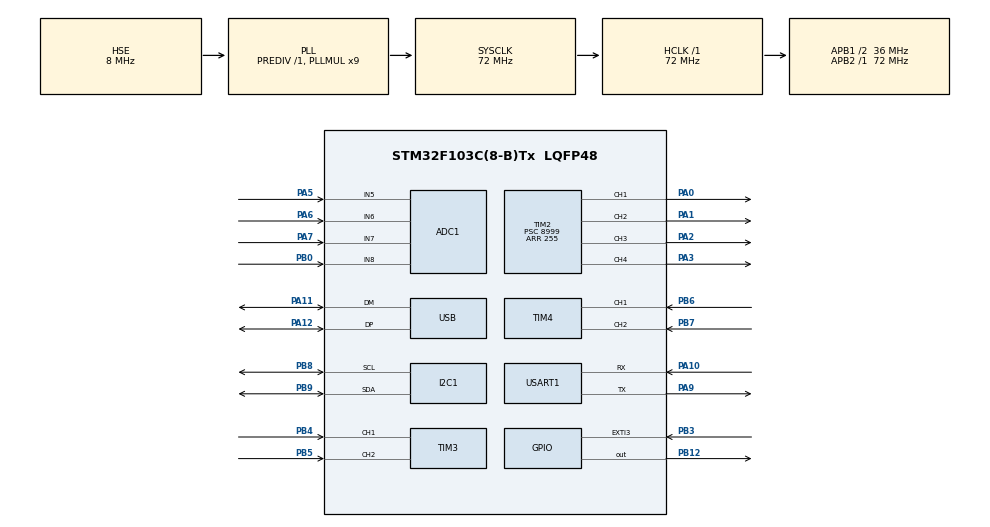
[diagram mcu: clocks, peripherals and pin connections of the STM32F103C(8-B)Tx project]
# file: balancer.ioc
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Mcu.Family=STM32F1
NVIC.ADC1_2_IRQn=true\:0\:0\:false\:false\:true\:true\:true
USB_DEVICE.CLASS_NAME_FS=CDC
ADC1.SamplingTime-4\#ChannelInjectedConversion=ADC_SAMPLETIME_7CYCLES_5
ADC1.ContinuousConvMode=DISABLE
Dma.I2C1_TX.1.Mode=DMA_NORMAL
TIM3.EncoderMode=TIM_ENCODERMODE_TI12
NVIC.EXTI3_IRQn=true\:0\:0\:false\:false\:true\:true\:true
PA11.Mode=Device
TIM2.Channel-PWM\ Generation2\ CH2=TIM_CHANNEL_2
ADC1.Rank-3\#ChannelInjectedConversion=2
RCC.SYSCLKSource=RCC_SYSCLKSOURCE_PLLCLK
ProjectManager.StackSize=0x400
ADC1.InjectedOffset-4\#ChannelInjectedConversion=0
PD1-OSC_OUT.Signal=RCC_OSC_OUT
Dma.I2C1_TX.1.Direction=DMA_MEMORY_TO_PERIPH
ADC1.Channel-3\#ChannelInjectedConversion=ADC_CHANNEL_6
PA12.Signal=USB_DP
RCC.HCLKFreq_Value=72000000
RCC.APB2TimFreq_Value=72000000
PB6.Signal=S_TIM4_CH1
ADC1.InjNumberOfConversion=3
Dma.I2C1_RX.0.PeriphDataAlignment=DMA_PDATAALIGN_BYTE
Dma.I2C1_TX.1.PeriphInc=DMA_PINC_DISABLE
RCC.AHBFreq_Value=72000000
Dma.I2C1_RX.0.Priority=DMA_PRIORITY_LOW
ADC1.InjectedOffset-3\#ChannelInjectedConversion=0
Dma.I2C1_RX.0.Mode=DMA_NORMAL
RCC.PLLMUL=RCC_PLL_MUL9
PA14.Mode=Serial_Wire
SH.ADCx_IN8.0=ADC1_IN8,IN8
SH.S_TIM4_CH2.0=TIM4_CH2,Encoder_Interface
PB7.Signal=S_TIM4_CH2
TIM2.Channel-PWM\ Generation1\ CH1=TIM_CHANNEL_1
Dma.I2C1_RX.0.Direction=DMA_PERIPH_TO_MEMORY
SH.S_TIM3_CH1.0=TIM3_CH1,Encoder_Interface
ADC1.Rank-4\#ChannelInjectedConversion=3
Mcu.Package=LQFP48
PB9.Signal=I2C1_SDA
TIM2.Prescaler=8999
PA6.Signal=ADCx_IN6
ADC1.Channel-4\#ChannelInjectedConversion=ADC_CHANNEL_6
ADC1.Rank-2\#ChannelInjectedConversion=1
PA10.Signal=USART1_RX
SH.S_TIM4_CH1.0=TIM4_CH1,Encoder_Interface
Dma.Request1=I2C1_TX
RCC.APB1TimFreq_Value=72000000
ADC1.SamplingTime-3\#ChannelInjectedConversion=ADC_SAMPLETIME_7CYCLES_5
Dma.Request0=I2C1_RX
ADC1.SamplingTime-2\#ChannelInjectedConversion=ADC_SAMPLETIME_7CYCLES_5
PB4.Signal=S_TIM3_CH1
PA3.Signal=S_TIM2_CH4
Dma.I2C1_TX.1.PeriphDataAlignment=DMA_PDATAALIGN_BYTE
RCC.PLLSourceVirtual=RCC_PLLSOURCE_HSE
NVIC.DMA1_Channel6_IRQn=true\:0\:0\:false\:false\:true\:false\:true
Dma.I2C1_RX.0.PeriphInc=DMA_PINC_DISABLE
TIM2.Channel-PWM\ Generation4\ CH4=TIM_CHANNEL_4
Dma.I2C1_RX.0.MemDataAlignment=DMA_MDATAALIGN_BYTE
PD1-OSC_OUT.Mode=HSE-External-Oscillator
PA10.Mode=Asynchronous
USB_DEVICE.VirtualModeFS=Cdc_FS
SH.ADCx_IN6.0=ADC1_IN6,IN6
RCC.USBPrescaler=RCC_USBCLKSOURCE_PLL_DIV1_5
PD0-OSC_IN.Signal=RCC_OSC_IN
RCC.APB1CLKDivider=RCC_HCLK_DIV2
PA0-WKUP.Signal=S_TIM2_CH1_ETR
RCC.ADCPresc=RCC_ADCPCLK2_DIV8
PA13.Signal=SYS_JTMS-SWDIO
SH.S_TIM2_CH2.0=TIM2_CH2,PWM Generation2 CH2
PA9.Mode=Asynchronous
ProjectManager.TargetToolchain=Makefile
SH.ADCx_IN7.0=ADC1_IN7,IN7
ADC1.Channel-2\#ChannelInjectedConversion=ADC_CHANNEL_6
VP_USB_DEVICE_VS_USB_DEVICE_CDC_FS.Mode=CDC_FS
PB9.Mode=I2C
PA9.Signal=USART1_TX
ADC1.InjectedOffset-2\#ChannelInjectedConversion=0
Dma.I2C1_RX.0.MemInc=DMA_MINC_ENABLE
Dma.I2C1_TX.1.Instance=DMA1_Channel6
RCC.USBFreq_Value=48000000
PA1.Signal=S_TIM2_CH2
PD0-OSC_IN.Mode=HSE-External-Oscillator
PA5.Signal=ADCx_IN5
SH.S_TIM3_CH2.0=TIM3_CH2,Encoder_Interface
board=custom
Dma.I2C1_TX.1.Priority=DMA_PRIORITY_LOW
RCC.APB2Freq_Value=72000000
VP_TIM2_VS_ClockSourceINT.Mode=Internal
SH.S_TIM2_CH3.0=TIM2_CH3,PWM Generation3 CH3
Dma.I2C1_TX.1.MemInc=DMA_MINC_ENABLE
NVIC.USB_LP_CAN1_RX0_IRQn=true\:0\:0\:false\:false\:true\:false\:true
TIM2.Channel-PWM\ Generation3\ CH3=TIM_CHANNEL_3
Dma.I2C1_TX.1.MemDataAlignment=DMA_MDATAALIGN_BYTE
TIM2.Period=255
PA13.Mode=Serial_Wire
Mcu.Name=STM32F103C(8-B)Tx
PA2.Signal=S_TIM2_CH3
PB3.Signal=GPXTI3
RCC.SYSCLKFreq_VALUE=72000000
PB5.Signal=S_TIM3_CH2
ADC1.master=1
PA12.Mode=Device
USART1.VirtualMode=VM_ASYNC
PA11.Signal=USB_DM
SH.S_TIM2_CH1_ETR.0=TIM2_CH1,PWM Generation1 CH1
PA14.Signal=SYS_JTCK-SWCLK
ProjectManager.HeapSize=0x200
SH.S_TIM2_CH4.0=TIM2_CH4,PWM Generation4 CH4
SH.ADCx_IN5.0=ADC1_IN5,IN5
NVIC.PriorityGroup=NVIC_PRIORITYGROUP_4
PB8.Mode=I2C
ADC1.EnableRegularConversion=DISABLE
PB8.Signal=I2C1_SCL
NVIC.DMA1_Channel7_IRQn=true\:0\:0\:false\:false\:true\:false\:true
RCC.APB1Freq_Value=36000000
PB0.Signal=ADCx_IN8
USB_DEVICE.VirtualMode=Cdc
Dma.I2C1_RX.0.Instance=DMA1_Channel7
PB12.Signal=GPIO_Output
PA7.Signal=ADCx_IN7

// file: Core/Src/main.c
/* USER CODE BEGIN Header */
/**
  ******************************************************************************
  * @file           : main.c
  * @brief          : Main program body
  ******************************************************************************
  * This notice applies to any and all portions of this file
  * that are not between comment pairs USER CODE BEGIN and
  * USER CODE END. Other portions of this file, whether
  * inserted by the user or by software development tools
  * are owned by their respective copyright owners.
  *
  * Copyright (c) 2019 STMicroelectronics International N.V.
  * All rights reserved.
  *
  * Redistribution and use in source and binary forms, with or without
  * modification, are permitted, provided that the following conditions are met:
  *
  * 1. Redistribution of source code must retain the above copyright notice,
  *    this list of conditions and the following disclaimer.
  * 2. Redistributions in binary form must reproduce the above copyright notice,
  *    this list of conditions and the following disclaimer in the documentation
  *    and/or other materials provided with the distribution.
  * 3. Neither the name of STMicroelectronics nor the names of other
  *    contributors to this software may be used to endorse or promote products
  *    derived from this software without specific written permission.
  * 4. This software, including modifications and/or derivative works of this
  *    software, must execute solely and exclusively on microcontroller or
  *    microprocessor devices manufactured by or for STMicroelectronics.
  * 5. Redistribution and use of this software other than as permitted under
  *    this license is void and will automatically terminate your rights under
  *    this license.
  *
  * THIS SOFTWARE IS PROVIDED BY STMICROELECTRONICS AND CONTRIBUTORS "AS IS"
  * AND ANY EXPRESS, IMPLIED OR STATUTORY WARRANTIES, INCLUDING, BUT NOT
  * LIMITED TO, THE IMPLIED WARRANTIES OF MERCHANTABILITY, FITNESS FOR A
  * PARTICULAR PURPOSE AND NON-INFRINGEMENT OF THIRD PARTY INTELLECTUAL PROPERTY
  * RIGHTS ARE DISCLAIMED TO THE FULLEST EXTENT PERMITTED BY LAW. IN NO EVENT
  * SHALL STMICROELECTRONICS OR CONTRIBUTORS BE LIABLE FOR ANY DIRECT, INDIRECT,
  * INCIDENTAL, SPECIAL, EXEMPLARY, OR CONSEQUENTIAL DAMAGES (INCLUDING, BUT NOT
  * LIMITED TO, PROCUREMENT OF SUBSTITUTE GOODS OR SERVICES; LOSS OF USE, DATA,
  * OR PROFITS; OR BUSINESS INTERRUPTION) HOWEVER CAUSED AND ON ANY THEORY OF
  * LIABILITY, WHETHER IN CONTRACT, STRICT LIABILITY, OR TORT (INCLUDING
  * NEGLIGENCE OR OTHERWISE) ARISING IN ANY WAY OUT OF THE USE OF THIS SOFTWARE,
  * EVEN IF ADVISED OF THE POSSIBILITY OF SUCH DAMAGE.
  *
  ******************************************************************************
  */
/* USER CODE END Header */

#include "main.h"
#include "adc.h"
#include "dma.h"
#include "i2c.h"
#include "tim.h"
#include "usart.h"
#include "usb_device.h"
#include "gpio.h"

/* USER CODE BEGIN Includes */
#include "motor.h"
#include "pid.h"
#include "angle.h"
#include "sensor.h"
#include "knob.h"
/* USER CODE END Includes */

void SystemClock_Config(void);

int main(void)
{

  /* MCU Configuration--------------------------------------------------------*/

  /* Reset of all peripherals, Initializes the Flash interface and the Systick. */
  HAL_Init();

  /* Configure the system clock */
  SystemClock_Config();

  /* Initialize all configured peripherals */
  MX_GPIO_Init();
  MX_DMA_Init();
  MX_I2C1_Init();
  MX_USART1_UART_Init();
  MX_TIM2_Init();
  MX_USB_DEVICE_Init();
  MX_ADC1_Init();
  MX_TIM3_Init();
  MX_TIM4_Init();
  /* USER CODE BEGIN 2 */
  HAL_Delay(10);
  motor_init();
  sensor_init();

  uint32_t last_tick = HAL_GetTick();
  uint32_t last_dbg_tick = HAL_GetTick();
  const float TICKS_PER_SECOND = 1000.0;
  static pidc_t pid = {
    .kp = 4.25,
    .ki = 0.0,
    .kd = 0.30,

    .outMax = 20.0,
    .outMin = -20.0,
    .direction = -1.0,

    .last_measure = 0.0,
    .err_sum = 0.0,
    .set_point = -0.8
  };

  static knob_t knob1 = {
    .min = 0,
    .max = 22
  };

  knob_init(&knob1);

  /* USER CODE END 2 */

  /* Infinite loop */
  /* USER CODE BEGIN WHILE */
  while (1)
  {
    /* HAL_GPIO_TogglePin(GPIOB, GPIO_PIN_12);*/
    /* HAL_Delay(25);*/

    float adc_value = knob_read(&knob1);
    pid.kp = adc_value;

    uint32_t current_tick = HAL_GetTick();
    uint32_t dt = current_tick - last_tick;
    if (dt < 3) {
        continue;
    }

    struct vec3 * angles = angle_update(dt, TICKS_PER_SECOND);
    float output = pid_compute(&pid, angles->x, dt, TICKS_PER_SECOND);

    int32_t remapped_r = motor_remap(MOTOR_RIGHT, output, pid.outMax);
    int32_t remapped_l = motor_remap(MOTOR_LEFT, output, pid.outMax);

    /* uint32_t motor_speed = (uint32_t) adc_value;*/
    /* motor_setSpeed(motor_speed);*/

    if (angles->x < -30.0 || angles->x > 30.0) {
        motor_setSpeed(MOTOR_LEFT, 0);
        motor_setSpeed(MOTOR_RIGHT, 0);
    } else {
        motor_setSpeed(MOTOR_RIGHT, remapped_r);
        motor_setSpeed(MOTOR_LEFT, remapped_l);
    }

    last_tick = current_tick;

    if (current_tick - last_dbg_tick >= 100) {
        char strbuffer[256];
        snprintf(strbuffer, 256,
            "%f,%f,%d,%d\r\n",
            angles->x,
            output,
            remapped_l,
            remapped_r
        );
        CDC_Transmit_FS(strbuffer, strlen(strbuffer));
        last_dbg_tick = current_tick;
    }

    /* USER CODE END WHILE */

  }
}

void SystemClock_Config(void)
{
  RCC_OscInitTypeDef RCC_OscInitStruct = {0};
  RCC_ClkInitTypeDef RCC_ClkInitStruct = {0};
  RCC_PeriphCLKInitTypeDef PeriphClkInit = {0};

  /** Initializes the CPU, AHB and APB busses clocks
  */
  RCC_OscInitStruct.OscillatorType = RCC_OSCILLATORTYPE_HSE;
  RCC_OscInitStruct.HSEState = RCC_HSE_ON;
  RCC_OscInitStruct.HSEPredivValue = RCC_HSE_PREDIV_DIV1;
  RCC_OscInitStruct.HSIState = RCC_HSI_ON;
  RCC_OscInitStruct.PLL.PLLState = RCC_PLL_ON;
  RCC_OscInitStruct.PLL.PLLSource = RCC_PLLSOURCE_HSE;
  RCC_OscInitStruct.PLL.PLLMUL = RCC_PLL_MUL9;
  if (HAL_RCC_OscConfig(&RCC_OscInitStruct) != HAL_OK)
  {
    Error_Handler();
  }
  /** Initializes the CPU, AHB and APB busses clocks
  */
  RCC_ClkInitStruct.ClockType = RCC_CLOCKTYPE_HCLK|RCC_CLOCKTYPE_SYSCLK
                              |RCC_CLOCKTYPE_PCLK1|RCC_CLOCKTYPE_PCLK2;
  RCC_ClkInitStruct.SYSCLKSource = RCC_SYSCLKSOURCE_PLLCLK;
  RCC_ClkInitStruct.AHBCLKDivider = RCC_SYSCLK_DIV1;
  RCC_ClkInitStruct.APB1CLKDivider = RCC_HCLK_DIV2;
  RCC_ClkInitStruct.APB2CLKDivider = RCC_HCLK_DIV1;

  if (HAL_RCC_ClockConfig(&RCC_ClkInitStruct, FLASH_LATENCY_2) != HAL_OK)
  {
    Error_Handler();
  }
  PeriphClkInit.PeriphClockSelection = RCC_PERIPHCLK_ADC|RCC_PERIPHCLK_USB;
  PeriphClkInit.AdcClockSelection = RCC_ADCPCLK2_DIV8;
  PeriphClkInit.UsbClockSelection = RCC_USBCLKSOURCE_PLL_DIV1_5;
  if (HAL_RCCEx_PeriphCLKConfig(&PeriphClkInit) != HAL_OK)
  {
    Error_Handler();
  }
}

void Error_Handler(void)
{
}

/************************ (C) COPYRIGHT STMicroelectronics *****END OF FILE****/
